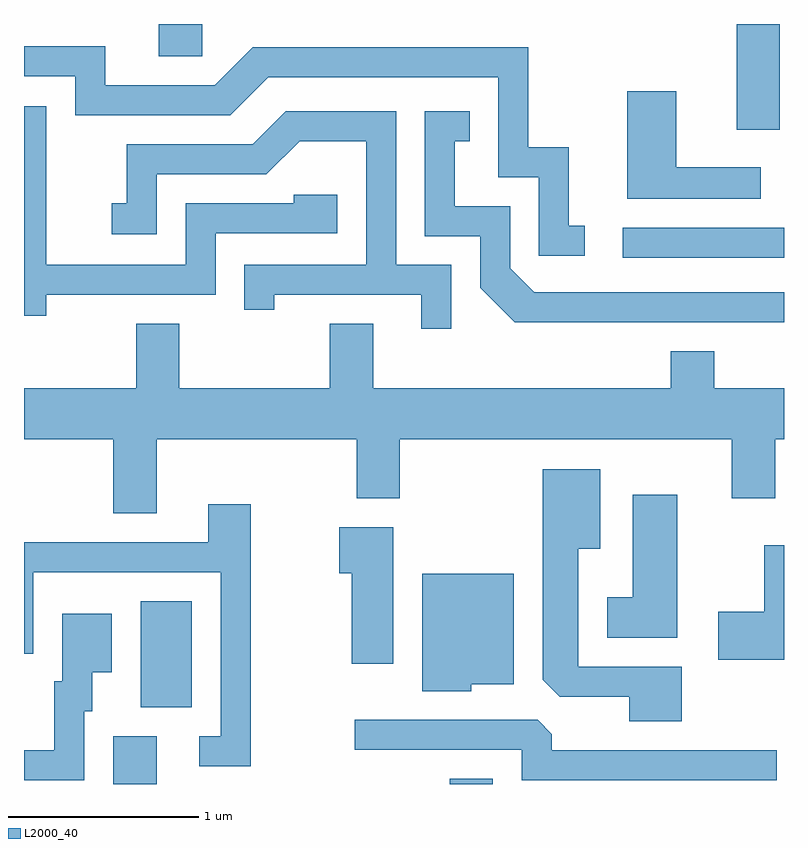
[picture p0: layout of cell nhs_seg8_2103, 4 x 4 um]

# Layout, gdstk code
import gdstk
lib = gdstk.Library(unit=1e-6, precision=1e-09)
def R(c, l, rs):  # rectangles x0, y0, x1, y1
    for r in rs: c.add(gdstk.rectangle(r[:2], r[2:], *l))
def P(c, l, *ps):  # polygons
    for p in ps: c.add(gdstk.Polygon(p, *l))
L2000_40 = (2000, 40)

nhs_seg8_2103 = lib.new_cell('nhs_seg8_2103')
R(nhs_seg8_2103, L2000_40, [(248.081,1872.342,248.309,1872.594), (249.851,1872.342,250.079,1872.369), (248.226,1872.746,248.494,1873.304), (250.763,1875.111,251.611,1875.269), (251.361,1875.786,251.589,1876.342), (248.321,1876.171,248.549,1876.342)])
P(nhs_seg8_2103, L2000_40, [(250.563,1875.279),(250.479,1875.279),(250.479,1875.694),(250.264,1875.694),(250.264,1876.219),(248.814,1876.219),(248.614,1876.019),(248.039,1876.019),(248.039,1876.224),(247.611,1876.224),(247.611,1876.066),(247.881,1876.066),(247.881,1875.861),(248.697,1875.861),(248.897,1876.061),(250.106,1876.061),(250.106,1875.536),(250.321,1875.536),(250.321,1875.121),(250.563,1875.121)],
  [(251.488,1875.589),(251.044,1875.589),(251.044,1875.989),(250.786,1875.989),(250.786,1875.421),(251.488,1875.421)],
  [(247.729,1874.916),(248.619,1874.916),(248.619,1875.241),(249.259,1875.241),(249.259,1875.444),(249.031,1875.444),(249.031,1875.399),(248.461,1875.399),(248.461,1875.074),(247.729,1875.074),(247.729,1875.909),(247.611,1875.909),(247.611,1874.806),(247.729,1874.806)],
  [(251.611,1874.929),(250.297,1874.929),(250.169,1875.057),(250.169,1875.384),(249.879,1875.384),(249.879,1875.726),(249.958,1875.726),(249.958,1875.884),(249.721,1875.884),(249.721,1875.226),(250.011,1875.226),(250.011,1874.954),(250.194,1874.771),(251.611,1874.771)],
  [(249.859,1875.074),(249.569,1875.074),(249.569,1875.884),(248.989,1875.884),(248.814,1875.709),(248.151,1875.709),(248.151,1875.399),(248.073,1875.399),(248.073,1875.236),(248.309,1875.236),(248.309,1875.551),(248.887,1875.551),(249.062,1875.726),(249.411,1875.726),(249.411,1875.074),(248.771,1875.074),(248.771,1874.838),(248.929,1874.838),(248.929,1874.916),(249.701,1874.916),(249.701,1874.738),(249.859,1874.738)],
  [(248.309,1874.156),(249.361,1874.156),(249.361,1873.846),(249.589,1873.846),(249.589,1874.156),(251.336,1874.156),(251.336,1873.846),(251.564,1873.846),(251.564,1874.156),(251.611,1874.156),(251.611,1874.424),(251.244,1874.424),(251.244,1874.619),(251.016,1874.619),(251.016,1874.424),(249.449,1874.424),(249.449,1874.764),(249.221,1874.764),(249.221,1874.424),(248.429,1874.424),(248.429,1874.764),(248.201,1874.764),(248.201,1874.424),(247.611,1874.424),(247.611,1874.156),(248.081,1874.156),(248.081,1873.766),(248.309,1873.766)],
  [(251.074,1872.959),(250.529,1872.959),(250.529,1873.581),(250.644,1873.581),(250.644,1873.999),(250.341,1873.999),(250.341,1872.892),(250.432,1872.801),(250.796,1872.801),(250.796,1872.671),(251.074,1872.671)],
  [(251.049,1873.864),(250.816,1873.864),(250.816,1873.324),(250.681,1873.324),(250.681,1873.111),(251.049,1873.111)],
  [(248.804,1873.814),(248.581,1873.814),(248.581,1873.614),(247.611,1873.614),(247.611,1873.028),(247.659,1873.028),(247.659,1873.456),(248.646,1873.456),(248.646,1872.594),(248.533,1872.594),(248.533,1872.436),(248.804,1872.436)],
  [(249.554,1873.694),(249.271,1873.694),(249.271,1873.451),(249.336,1873.451),(249.336,1872.976),(249.554,1872.976)],
  [(251.611,1873.599),(251.506,1873.599),(251.506,1873.249),(251.266,1873.249),(251.266,1872.996),(251.611,1872.996)],
  [(249.964,1872.866),(250.189,1872.866),(250.189,1873.449),(249.706,1873.449),(249.706,1872.831),(249.964,1872.831)],
  [(247.929,1872.726),(247.969,1872.726),(247.969,1872.931),(248.074,1872.931),(248.074,1873.239),(247.811,1873.239),(247.811,1872.884),(247.771,1872.884),(247.771,1872.519),(247.611,1872.519),(247.611,1872.361),(247.929,1872.361)],
  [(251.573,1872.519),(250.389,1872.519),(250.389,1872.604),(250.314,1872.679),(249.353,1872.679),(249.353,1872.521),(250.231,1872.521),(250.231,1872.361),(251.573,1872.361)])

lib.write_gds('nhs_seg8_2103.gds')
